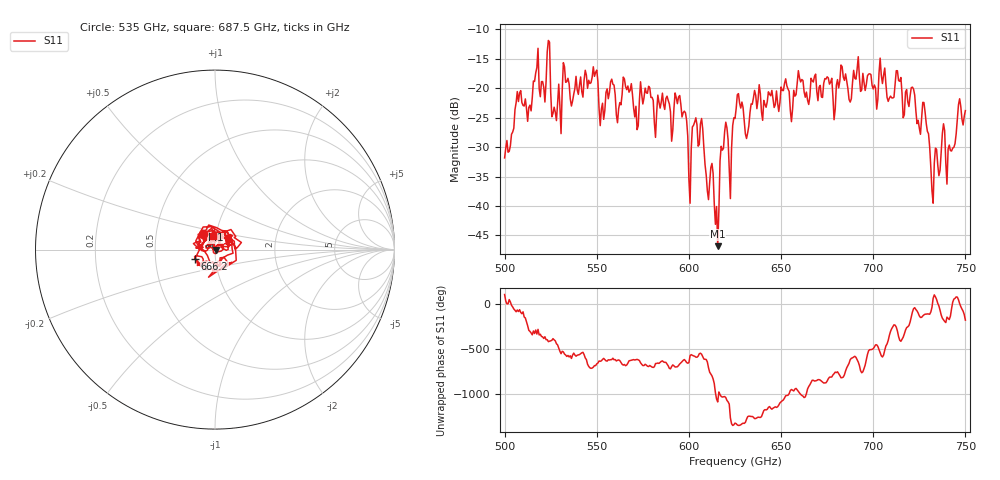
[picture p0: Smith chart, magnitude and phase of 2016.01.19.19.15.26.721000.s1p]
!Created with skrf (http://scikit-rf.org).
# GHz S RI R 50.0
!freq ReS11 ImS11
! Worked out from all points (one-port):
!   401 points, 500 GHz to 750 GHz, reference 50 ohm
!   lowest |S11| = -46.8 dB at 615.6 GHz (marker M1), VSWR 1.01, Z = 50.4 - j0.106 ohm
!   |S11| at or under -10 dB: start of sweep to end of sweep
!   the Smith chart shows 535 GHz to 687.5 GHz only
!   S11 on the Smith chart (normalised r, x): 535 GHz: 0.86, +0.15; 666.2 GHz: 0.80, -0.08; 687.5 GHz: 0.97, +0.15
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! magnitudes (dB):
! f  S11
! 500 GHz  -31.8
! 507.5 GHz  -22.2
! 513.8 GHz  -22.9
! 516.9 GHz  -17.4
! 520.6 GHz  -18.9
! 523.8 GHz  -11.9
! 526.9 GHz  -23.2
! 531.2 GHz  -20.4
! 535 GHz  -19.2
! 548.8 GHz  -18.0
! 552.5 GHz  -23.5
! 558.1 GHz  -18.4
! 562.5 GHz  -22.4
! 593.8 GHz  -22.6
! 600 GHz  -35.5
! 606.9 GHz  -25.1
! 615.6 GHz  -46.8
! 618.8 GHz  -30.2
! 622.5 GHz  -38.7
! 625 GHz  -25.1
! 656.2 GHz  -23.5
! 666.2 GHz  -18.3
! 687.5 GHz  -22.3
! 705 GHz  -19.2
! 718.8 GHz  -22.3
! 728.1 GHz  -24.0
! 731.9 GHz  -37.4
! 750 GHz  -23.8
